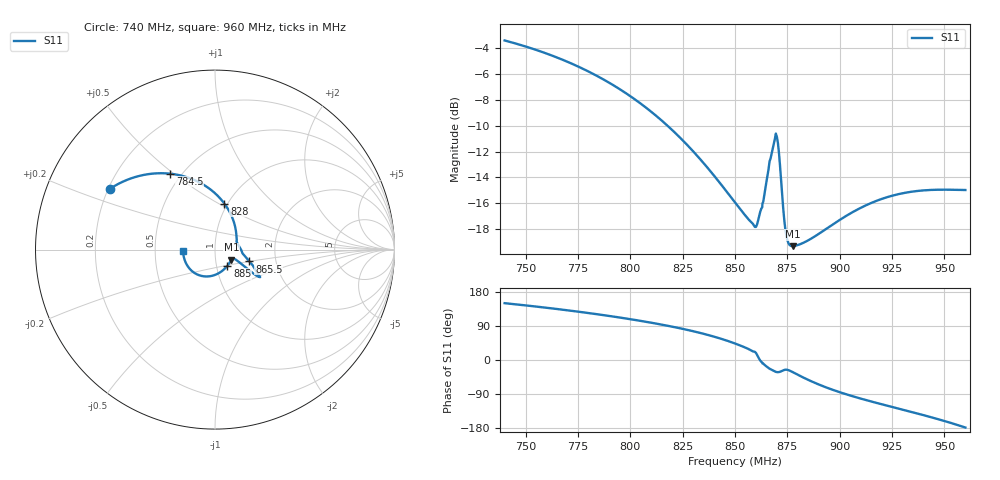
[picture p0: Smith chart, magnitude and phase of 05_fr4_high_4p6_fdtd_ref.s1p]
! ISAC_868 Rev E.5 3D-FDTD Reference S11 at /BR_Q (5_Enclosed_FR4_High_er4p6)
! Reference plane: /BR_Q (includes C_M1=3.6p, L_M1=8.2n||C_MZ=0.5p, C_M2=4.3p elliptic Pi-filter)
! Unloaded AE1 f0 = 859.5 MHz | Standalone |S11(866.5)| = -14.42 dB | Cascaded |S11(866.5)| = -12.76 dB
# GHz S RI R 50.0
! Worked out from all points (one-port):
!   442 points, 740 MHz to 960 MHz, reference 50 ohm
!   lowest |S11| = -19.3 dB at 877.5 MHz (marker M1), VSWR 1.24, Z = 59.7 - j6.87 ohm
!   |S11| at or under -10 dB: 817.8 MHz to end of sweep
!   S11 on the Smith chart (normalised r, x): 740 MHz: 0.21, +0.26; 784.5 MHz: 0.44, +0.49; 828 MHz: 0.97, +0.53; 865.5 MHz: 1.46, -0.20; 885 MHz: 1.13, -0.21; 960 MHz: 0.70, -0.01
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0.74  -0.5856 0.3386
0.755  -0.4838 0.391
0.7675  -0.3882 0.4177
0.7845  -0.2496 0.4229
0.795  -0.1644 0.4058
0.8085  -0.0628 0.3607
0.8225  0.0245 0.2899
0.828  0.052 0.2568
0.839  0.0934 0.1849
0.85  0.1156 0.1099
0.8585  0.1215 0.0514
0.86  0.1213 0.0413
0.863  0.1518 -0.0183
0.8655  0.1917 -0.0659
0.8685  0.2358 -0.1287
0.8695  0.2517 -0.1535
0.87  0.243 -0.1514
0.871  0.2103 -0.1305
0.8735  0.1227 -0.0608
0.8745  0.1071 -0.0512
0.876  0.0967 -0.0509
0.8775  0.0917 -0.0569
0.885  0.0692 -0.0903
0.905  -0.00935 -0.1441
0.9185  -0.0677 -0.1481
0.9325  -0.1225 -0.1243
0.947  -0.1635 -0.072
0.96  -0.1781 -0.00547
